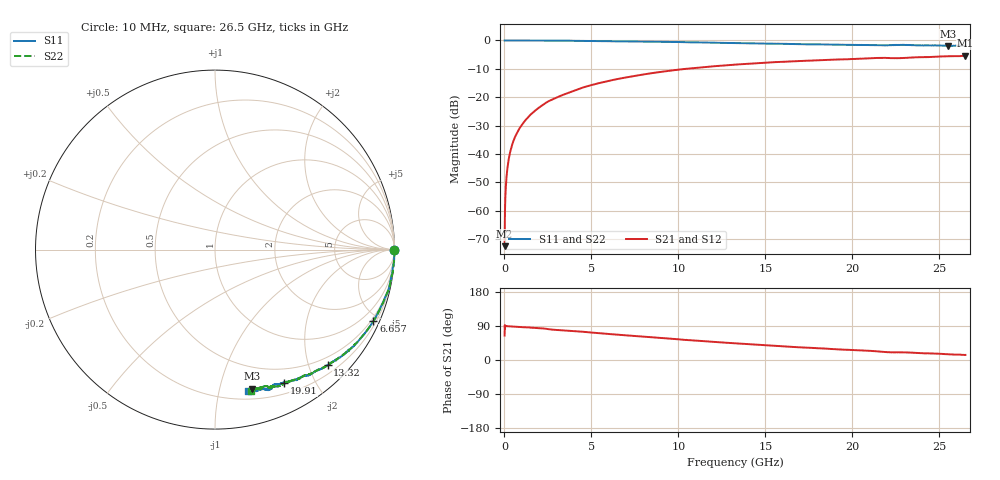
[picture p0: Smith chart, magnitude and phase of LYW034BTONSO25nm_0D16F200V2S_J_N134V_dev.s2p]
!Keysight Technologies,N5222B,MY61253708,A.15.00.15
!Date: Wednesday, June 19, 2024 09:59:55
!Correction: S11(C  2-Port  )
!S21(C  2-Port  )
!S12(C  2-Port  )
!S22(C  2-Port  )
!S2P File: Measurements: S11, S21, S12, S22:
# Hz S  RI  R 50
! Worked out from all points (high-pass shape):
!   2651 points, 10 MHz to 26.5 GHz, reference 50 ohm
!   highest |S21| = -5.40 dB at 26.5 GHz (marker M1); lowest = -72.4 dB at 10 MHz (marker M2)
!   |S21| within 3 dB of the highest: 13.53475 GHz to 13.53649 GHz (1.739 MHz wide, 0.0128 % of centre); 13.55 GHz to end of sweep
!   lowest |S11| = -1.9 dB at 25.5 GHz (marker M3), VSWR 9.06, Z = 14.6 - j62.9 ohm
!   |S11| at or under -10 dB: nowhere
!   |S22| runs from -1.9 to 0.0 dB; largest |S21 - S12| = 0.0061
!   S11 on the Smith chart (normalised r, x): 10 MHz: open; 6.657 GHz: 0.36, -4.62; 13.32 GHz: 0.35, -2.33; 19.91 GHz: 0.32, -1.60; 26.5 GHz: 0.27, -1.23
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1e7  0.9984 -0.00289  0.000103 0.000215  -0.00021 0.000593  0.9984 -0.00141
7.997358e7  0.9999 -0.00567  3.8e-05 0.00262  1.85e-05 0.00264  0.9994 -0.00528
1.499472e8  1 -0.0107  4.84e-05 0.00494  6.16e-05 0.00495  0.9996 -0.0102
1.899321e8  1 -0.0127  9.54e-05 0.00625  9.88e-05 0.00629  0.9998 -0.012
2.499094e8  0.9996 -0.017  0.000138 0.00824  0.000146 0.00827  0.9994 -0.0163
3.498717e8  0.9997 -0.0237  0.000295 0.0115  0.000275 0.0115  0.9995 -0.0228
4.798226e8  0.9987 -0.0323  0.00049 0.0157  0.00047 0.0158  0.9986 -0.0313
6.397623e8  0.9987 -0.0424  0.000892 0.021  0.000871 0.0211  0.9985 -0.0417
8.196943e8  0.998 -0.0543  0.0014 0.0268  0.00143 0.027  0.9978 -0.0535
1.449457e9  0.9909 -0.0968  0.00347 0.0476  0.0035 0.0477  0.9931 -0.0936
2.339121e9  0.9821 -0.1513  0.0099 0.0777  0.0101 0.078  0.9831 -0.1517
3.208792e9  0.9715 -0.2062  0.0208 0.1032  0.021 0.1038  0.9713 -0.2057
4.428332e9  0.9436 -0.2787  0.0378 0.1406  0.0382 0.1413  0.9449 -0.2764
6.657491e9  0.8824 -0.3982  0.0861 0.1958  0.0872 0.1963  0.8836 -0.3983
8.846664e9  0.8057 -0.4999  0.1434 0.2357  0.1447 0.2361  0.8067 -0.4989
1.3255e10  0.6311 -0.6405  0.27 0.2606  0.272 0.2602  0.6338 -0.6396
1.332497e10  0.6271 -0.6439  0.2727 0.2603  0.274 0.2596  0.629 -0.6412
1.767333e10  0.4603 -0.7213  0.3763 0.2338  0.3793 0.2318  0.4692 -0.7189
1.991249e10  0.3844 -0.7441  0.4209 0.2101  0.4229 0.2066  0.3952 -0.7405
2.209166e10  0.3248 -0.7556  0.4593 0.1723  0.4607 0.1691  0.3174 -0.7612
2.550038e10  0.2056 -0.7743  0.5088 0.1363  0.51 0.1354  0.2247 -0.7764
2.65e10  0.1859 -0.7881  0.5223 0.1248  0.5215 0.1209  0.1984 -0.786
